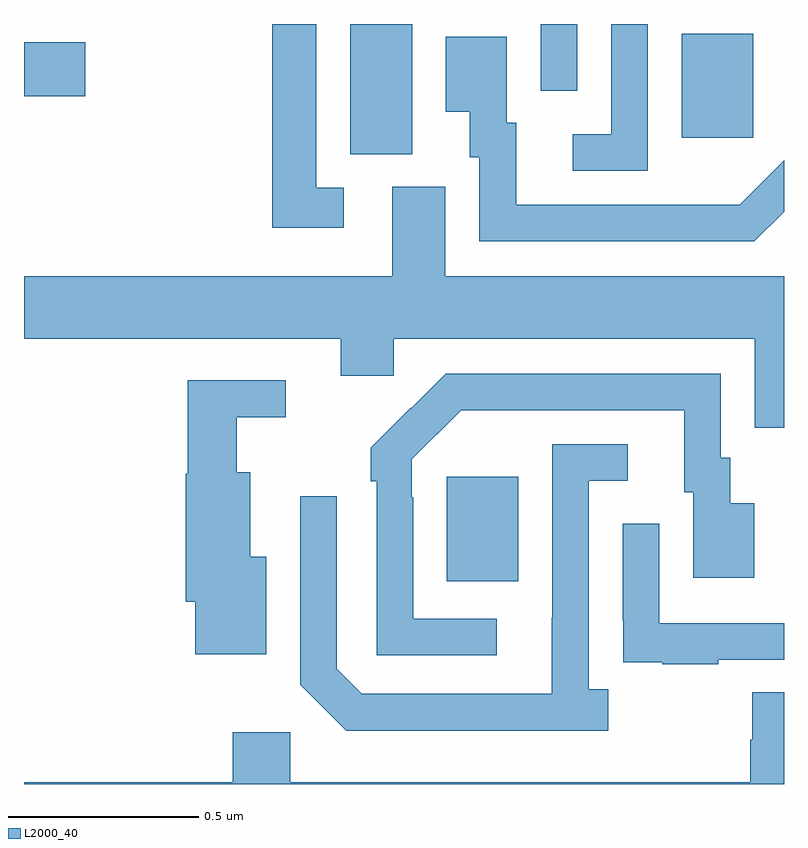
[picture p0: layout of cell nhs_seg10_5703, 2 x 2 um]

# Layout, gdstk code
import gdstk
lib = gdstk.Library(unit=1e-6, precision=1e-09)
def R(c, l, rs):  # rectangles x0, y0, x1, y1
    for r in rs: c.add(gdstk.rectangle(r[:2], r[2:], *l))
def P(c, l, *ps):  # polygons
    for p in ps: c.add(gdstk.Polygon(p, *l))
L2000_40 = (2000, 40)

nhs_seg10_5703 = lib.new_cell('nhs_seg10_5703')
R(nhs_seg10_5703, L2000_40, [(183.113,1277.033,183.301,1277.308), (182.858,1278.157,183.022,1278.5), (183.731,1278.201,183.919,1278.475), (182,1278.31,182.161,1278.452), (183.36,1278.324,183.456,1278.5)])
P(nhs_seg10_5703, L2000_40, [(182.842,1278.069),(182.769,1278.069),(182.769,1278.5),(182.653,1278.5),(182.653,1277.964),(182.842,1277.964)],
  [(183.642,1278.5),(183.546,1278.5),(183.546,1278.21),(183.444,1278.21),(183.444,1278.114),(183.642,1278.114)],
  [(184,1278.006),(184,1278.142),(183.883,1278.025),(183.779,1278.025),(183.779,1278.024),(183.295,1278.024),(183.295,1278.24),(183.271,1278.24),(183.271,1278.466),(183.11,1278.466),(183.11,1278.269),(183.173,1278.269),(183.173,1278.15),(183.198,1278.15),(183.198,1277.928),(183.922,1277.928)],
  [(184,1277.836),(183.109,1277.836),(183.109,1278.072),(182.969,1278.072),(182.969,1277.836),(182,1277.836),(182,1277.672),(182.834,1277.672),(182.834,1277.574),(182.973,1277.574),(182.973,1277.672),(183.923,1277.672),(183.923,1277.437),(184,1277.437)],
  [(183.244,1276.935),(183.024,1276.935),(183.024,1277.255),(183.021,1277.255),(183.021,1277.355),(183.15,1277.484),(183.737,1277.484),(183.737,1277.268),(183.761,1277.268),(183.761,1277.043),(183.922,1277.043),(183.922,1277.239),(183.859,1277.239),(183.859,1277.358),(183.834,1277.358),(183.834,1277.58),(183.11,1277.58),(183.019,1277.489),(183.018,1277.49),(182.913,1277.385),(182.913,1277.297),(182.928,1277.297),(182.928,1276.839),(183.244,1276.839)],
  [(182.638,1277.098),(182.596,1277.098),(182.596,1277.32),(182.56,1277.32),(182.56,1277.465),(182.689,1277.465),(182.689,1277.562),(182.431,1277.562),(182.431,1277.316),(182.426,1277.316),(182.426,1276.98),(182.45,1276.98),(182.45,1276.841),(182.638,1276.841)],
  [(183.538,1276.75),(183.486,1276.75),(183.486,1277.298),(183.589,1277.298),(183.589,1277.394),(183.39,1277.394),(183.39,1276.937),(183.389,1276.937),(183.389,1276.737),(182.889,1276.737),(182.823,1276.803),(182.823,1277.257),(182.727,1277.257),(182.727,1276.761),(182.848,1276.64),(183.538,1276.64)],
  [(183.827,1276.827),(184,1276.827),(184,1276.923),(183.672,1276.923),(183.672,1277.185),(183.576,1277.185),(183.576,1276.93),(183.577,1276.93),(183.577,1276.821),(183.679,1276.821),(183.679,1276.815),(183.827,1276.815)],
  [(184,1276.742),(183.916,1276.742),(183.916,1276.617),(183.911,1276.617),(183.911,1276.504),(182.7,1276.504),(182.7,1276.636),(182.549,1276.636),(182.549,1276.504),(182,1276.504),(182,1276.5),(184,1276.5)])

lib.write_gds('nhs_seg10_5703.gds')
